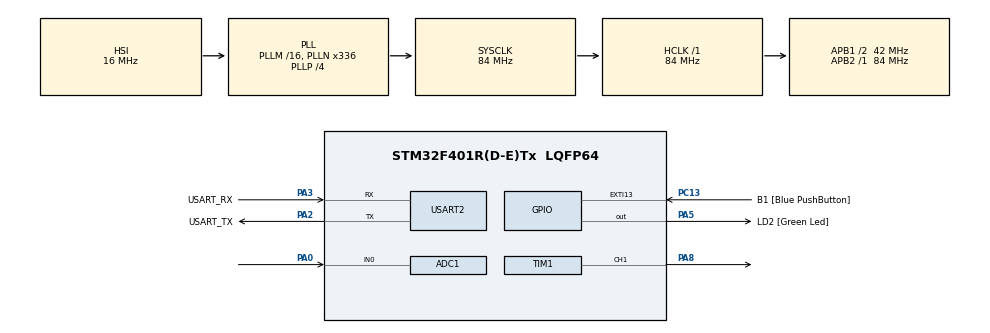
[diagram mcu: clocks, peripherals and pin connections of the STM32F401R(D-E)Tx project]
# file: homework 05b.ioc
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ADC1.Channel-0\#ChannelRegularConversion=ADC_CHANNEL_0
ADC1.ContinuousConvMode=DISABLE
ADC1.DMAContinuousRequests=ENABLE
ADC1.ExternalTrigConv=ADC_EXTERNALTRIGCONV_T3_TRGO
ADC1.NbrOfConversionFlag=1
ADC1.Rank-0\#ChannelRegularConversion=1
ADC1.SamplingTime-0\#ChannelRegularConversion=ADC_SAMPLETIME_480CYCLES
ADC1.master=1
Dma.ADC1.0.Direction=DMA_PERIPH_TO_MEMORY
Dma.ADC1.0.FIFOMode=DMA_FIFOMODE_DISABLE
Dma.ADC1.0.Instance=DMA2_Stream0
Dma.ADC1.0.MemDataAlignment=DMA_MDATAALIGN_HALFWORD
Dma.ADC1.0.MemInc=DMA_MINC_ENABLE
Dma.ADC1.0.Mode=DMA_CIRCULAR
Dma.ADC1.0.PeriphDataAlignment=DMA_PDATAALIGN_HALFWORD
Dma.ADC1.0.PeriphInc=DMA_PINC_DISABLE
Dma.ADC1.0.Priority=DMA_PRIORITY_LOW
Dma.Request0=ADC1
Mcu.Family=STM32F4
Mcu.Name=STM32F401R(D-E)Tx
Mcu.Package=LQFP64
NVIC.ADC_IRQn=true\:0\:0\:false\:false\:true\:true\:true\:true
NVIC.DMA2_Stream0_IRQn=true\:0\:0\:false\:false\:true\:false\:true\:true
NVIC.PriorityGroup=NVIC_PRIORITYGROUP_0
NVIC.TIM1_UP_TIM10_IRQn=true\:0\:0\:false\:false\:true\:true\:true\:true
PA0-WKUP.Signal=ADCx_IN0
PA13.GPIO_Label=TMS
PA13.Mode=Serial_Wire
PA13.Signal=SYS_JTMS-SWDIO
PA14.GPIO_Label=TCK
PA14.Mode=Serial_Wire
PA14.Signal=SYS_JTCK-SWCLK
PA2.GPIO_Label=USART_TX
PA2.GPIO_Mode=GPIO_MODE_AF_PP
PA2.GPIO_PuPd=GPIO_NOPULL
PA2.GPIO_Speed=GPIO_SPEED_FREQ_LOW
PA2.Mode=Asynchronous
PA2.Signal=USART2_TX
PA3.GPIO_Label=USART_RX
PA3.GPIO_Mode=GPIO_MODE_AF_PP
PA3.GPIO_PuPd=GPIO_NOPULL
PA3.GPIO_Speed=GPIO_SPEED_FREQ_LOW
PA3.Mode=Asynchronous
PA3.Signal=USART2_RX
PA5.GPIO_Label=LD2 [Green Led]
PA5.GPIO_Mode=GPIO_MODE_OUTPUT_PP
PA5.GPIO_PuPd=GPIO_NOPULL
PA5.GPIO_Speed=GPIO_SPEED_FREQ_LOW
PA5.Signal=GPIO_Output
PA8.Signal=S_TIM1_CH1
PB3.GPIO_Label=SWO
PB3.Signal=SYS_JTDO-SWO
PC13-ANTI_TAMP.GPIO_Label=B1 [Blue PushButton]
PC13-ANTI_TAMP.GPIO_ModeDefaultEXTI=GPIO_MODE_IT_FALLING
PC13-ANTI_TAMP.GPIO_PuPd=GPIO_NOPULL
PC13-ANTI_TAMP.Signal=GPXTI13
PC14-OSC32_IN.Mode=LSE-External-Oscillator
PC14-OSC32_IN.Signal=RCC_OSC32_IN
PC15-OSC32_OUT.Mode=LSE-External-Oscillator
PC15-OSC32_OUT.Signal=RCC_OSC32_OUT
PH0\ -\ OSC_IN.Mode=HSE-External-Clock-Source
PH0\ -\ OSC_IN.Signal=RCC_OSC_IN
PH1\ -\ OSC_OUT.Mode=HSE-External-Clock-Source
PH1\ -\ OSC_OUT.Signal=RCC_OSC_OUT
ProjectManager.HeapSize=0x200
ProjectManager.StackSize=0x400
ProjectManager.TargetToolchain=STM32CubeIDE
RCC.48MHZClocksFreq_Value=48000000
RCC.AHBFreq_Value=84000000
RCC.APB1CLKDivider=RCC_HCLK_DIV2
RCC.APB1Freq_Value=42000000
RCC.APB1TimFreq_Value=84000000
RCC.APB2Freq_Value=84000000
RCC.APB2TimFreq_Value=84000000
RCC.CortexFreq_Value=84000000
RCC.HCLKFreq_Value=84000000
RCC.HSE_VALUE=8000000
RCC.HSI_VALUE=16000000
RCC.PLLN=336
RCC.PLLP=RCC_PLLP_DIV4
RCC.PLLQ=7
RCC.SYSCLKFreq_VALUE=84000000
RCC.SYSCLKSource=RCC_SYSCLKSOURCE_PLLCLK
RCC.VCOOutputFreq_Value=336000000
SH.ADCx_IN0.0=ADC1_IN0,IN0
SH.S_TIM1_CH1.0=TIM1_CH1,PWM Generation1 CH1
TIM1.Channel-PWM\ Generation1\ CH1=TIM_CHANNEL_1
TIM1.Period=10000-1
TIM1.Prescaler=8400-1
TIM3.Period=10-1
TIM3.Prescaler=8400-1
TIM3.TIM_MasterOutputTrigger=TIM_TRGO_UPDATE
USART2.VirtualMode=VM_ASYNC
VP_TIM1_VS_ClockSourceINT.Mode=Internal
VP_TIM3_VS_ClockSourceINT.Mode=Internal
board=NUCLEO-F401RE

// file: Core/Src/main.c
/* USER CODE BEGIN Header */
/**
  ******************************************************************************
  * @file           : main.c
  * @brief          : Main program body
  ******************************************************************************
  * @attention
  *
  * Copyright (c) 2023 STMicroelectronics.
  * All rights reserved.
  *
  * This software is licensed under terms that can be found in the LICENSE file
  * in the root directory of this software component.
  * If no LICENSE file comes with this software, it is provided AS-IS.
  *
  ******************************************************************************
  */
/* USER CODE END Header */
#include "main.h"

/* USER CODE BEGIN Includes */
#include <math.h>
/* USER CODE END Includes */

ADC_HandleTypeDef hadc1;
DMA_HandleTypeDef hdma_adc1;

TIM_HandleTypeDef htim1;
TIM_HandleTypeDef htim3;

UART_HandleTypeDef huart2;

/* USER CODE BEGIN PV */
float mean=0;
uint16_t value;
float i=0;
float lux;
/* USER CODE END PV */

void SystemClock_Config(void);
static void MX_GPIO_Init(void);
static void MX_DMA_Init(void);
static void MX_USART2_UART_Init(void);
static void MX_ADC1_Init(void);
static void MX_TIM3_Init(void);
static void MX_TIM1_Init(void);
/* USER CODE BEGIN PFP */
void HAL_TIM_PeriodElapsedCallback(TIM_HandleTypeDef *htim){
	float temp = mean*3.3/4096;
	float ldr = (temp*100)/(3.3-temp);
	lux = 10*pow(100/ldr,1.25);
	char msg[100]="";
	sprintf(msg, "Lux: %f \r\n",lux);
	HAL_UART_Transmit(&huart2, msg, sizeof(msg), 1000);
	i=0;
	mean=0;
}
void HAL_ADC_ConvCpltCallback(ADC_HandleTypeDef* hadc){
	if(hadc == &hadc1){
		i++;
		mean=((mean*(i-1))+value)/i;
	}
}
/* USER CODE END PFP */

int main(void)
{

  /* MCU Configuration--------------------------------------------------------*/

  /* Reset of all peripherals, Initializes the Flash interface and the Systick. */
  HAL_Init();

  /* Configure the system clock */
  SystemClock_Config();

  /* Initialize all configured peripherals */
  MX_GPIO_Init();
  MX_DMA_Init();
  MX_USART2_UART_Init();
  MX_ADC1_Init();
  MX_TIM3_Init();
  MX_TIM1_Init();
  /* USER CODE BEGIN 2 */
  HAL_ADC_Start_DMA(&hadc1, &value, 1);
  HAL_TIM_Base_Start(&htim3);
  HAL_TIM_Base_Start_IT(&htim1);
  //HAL_TIM_Base_Start_IT(&htim1);
  /* USER CODE END 2 */

  /* Infinite loop */
  while (1)
  {

  }
}

void SystemClock_Config(void)
{
  RCC_OscInitTypeDef RCC_OscInitStruct = {0};
  RCC_ClkInitTypeDef RCC_ClkInitStruct = {0};

  /** Configure the main internal regulator output voltage
  */
  __HAL_RCC_PWR_CLK_ENABLE();
  __HAL_PWR_VOLTAGESCALING_CONFIG(PWR_REGULATOR_VOLTAGE_SCALE2);

  /** Initializes the RCC Oscillators according to the specified parameters
  * in the RCC_OscInitTypeDef structure.
  */
  RCC_OscInitStruct.OscillatorType = RCC_OSCILLATORTYPE_HSI;
  RCC_OscInitStruct.HSIState = RCC_HSI_ON;
  RCC_OscInitStruct.HSICalibrationValue = RCC_HSICALIBRATION_DEFAULT;
  RCC_OscInitStruct.PLL.PLLState = RCC_PLL_ON;
  RCC_OscInitStruct.PLL.PLLSource = RCC_PLLSOURCE_HSI;
  RCC_OscInitStruct.PLL.PLLM = 16;
  RCC_OscInitStruct.PLL.PLLN = 336;
  RCC_OscInitStruct.PLL.PLLP = RCC_PLLP_DIV4;
  RCC_OscInitStruct.PLL.PLLQ = 7;
  if (HAL_RCC_OscConfig(&RCC_OscInitStruct) != HAL_OK)
  {
    Error_Handler();
  }

  /** Initializes the CPU, AHB and APB buses clocks
  */
  RCC_ClkInitStruct.ClockType = RCC_CLOCKTYPE_HCLK|RCC_CLOCKTYPE_SYSCLK
                              |RCC_CLOCKTYPE_PCLK1|RCC_CLOCKTYPE_PCLK2;
  RCC_ClkInitStruct.SYSCLKSource = RCC_SYSCLKSOURCE_PLLCLK;
  RCC_ClkInitStruct.AHBCLKDivider = RCC_SYSCLK_DIV1;
  RCC_ClkInitStruct.APB1CLKDivider = RCC_HCLK_DIV2;
  RCC_ClkInitStruct.APB2CLKDivider = RCC_HCLK_DIV1;

  if (HAL_RCC_ClockConfig(&RCC_ClkInitStruct, FLASH_LATENCY_2) != HAL_OK)
  {
    Error_Handler();
  }
}

static void MX_ADC1_Init(void)
{

  ADC_ChannelConfTypeDef sConfig = {0};

  /** Configure the global features of the ADC (Clock, Resolution, Data Alignment and number of conversion)
  */
  hadc1.Instance = ADC1;
  hadc1.Init.ClockPrescaler = ADC_CLOCK_SYNC_PCLK_DIV4;
  hadc1.Init.Resolution = ADC_RESOLUTION_12B;
  hadc1.Init.ScanConvMode = DISABLE;
  hadc1.Init.ContinuousConvMode = DISABLE;
  hadc1.Init.DiscontinuousConvMode = DISABLE;
  hadc1.Init.ExternalTrigConvEdge = ADC_EXTERNALTRIGCONVEDGE_RISING;
  hadc1.Init.ExternalTrigConv = ADC_EXTERNALTRIGCONV_T3_TRGO;
  hadc1.Init.DataAlign = ADC_DATAALIGN_RIGHT;
  hadc1.Init.NbrOfConversion = 1;
  hadc1.Init.DMAContinuousRequests = ENABLE;
  hadc1.Init.EOCSelection = ADC_EOC_SINGLE_CONV;
  if (HAL_ADC_Init(&hadc1) != HAL_OK)
  {
    Error_Handler();
  }

  /** Configure for the selected ADC regular channel its corresponding rank in the sequencer and its sample time.
  */
  sConfig.Channel = ADC_CHANNEL_0;
  sConfig.Rank = 1;
  sConfig.SamplingTime = ADC_SAMPLETIME_480CYCLES;
  if (HAL_ADC_ConfigChannel(&hadc1, &sConfig) != HAL_OK)
  {
    Error_Handler();
  }

}

static void MX_TIM1_Init(void)
{

  TIM_ClockConfigTypeDef sClockSourceConfig = {0};
  TIM_MasterConfigTypeDef sMasterConfig = {0};
  TIM_OC_InitTypeDef sConfigOC = {0};
  TIM_BreakDeadTimeConfigTypeDef sBreakDeadTimeConfig = {0};

  htim1.Instance = TIM1;
  htim1.Init.Prescaler = 8400-1;
  htim1.Init.CounterMode = TIM_COUNTERMODE_UP;
  htim1.Init.Period = 10000-1;
  htim1.Init.ClockDivision = TIM_CLOCKDIVISION_DIV1;
  htim1.Init.RepetitionCounter = 0;
  htim1.Init.AutoReloadPreload = TIM_AUTORELOAD_PRELOAD_DISABLE;
  if (HAL_TIM_Base_Init(&htim1) != HAL_OK)
  {
    Error_Handler();
  }
  sClockSourceConfig.ClockSource = TIM_CLOCKSOURCE_INTERNAL;
  if (HAL_TIM_ConfigClockSource(&htim1, &sClockSourceConfig) != HAL_OK)
  {
    Error_Handler();
  }
  if (HAL_TIM_PWM_Init(&htim1) != HAL_OK)
  {
    Error_Handler();
  }
  sMasterConfig.MasterOutputTrigger = TIM_TRGO_RESET;
  sMasterConfig.MasterSlaveMode = TIM_MASTERSLAVEMODE_DISABLE;
  if (HAL_TIMEx_MasterConfigSynchronization(&htim1, &sMasterConfig) != HAL_OK)
  {
    Error_Handler();
  }
  sConfigOC.OCMode = TIM_OCMODE_PWM1;
  sConfigOC.Pulse = 0;
  sConfigOC.OCPolarity = TIM_OCPOLARITY_HIGH;
  sConfigOC.OCNPolarity = TIM_OCNPOLARITY_HIGH;
  sConfigOC.OCFastMode = TIM_OCFAST_DISABLE;
  sConfigOC.OCIdleState = TIM_OCIDLESTATE_RESET;
  sConfigOC.OCNIdleState = TIM_OCNIDLESTATE_RESET;
  if (HAL_TIM_PWM_ConfigChannel(&htim1, &sConfigOC, TIM_CHANNEL_1) != HAL_OK)
  {
    Error_Handler();
  }
  sBreakDeadTimeConfig.OffStateRunMode = TIM_OSSR_DISABLE;
  sBreakDeadTimeConfig.OffStateIDLEMode = TIM_OSSI_DISABLE;
  sBreakDeadTimeConfig.LockLevel = TIM_LOCKLEVEL_OFF;
  sBreakDeadTimeConfig.DeadTime = 0;
  sBreakDeadTimeConfig.BreakState = TIM_BREAK_DISABLE;
  sBreakDeadTimeConfig.BreakPolarity = TIM_BREAKPOLARITY_HIGH;
  sBreakDeadTimeConfig.AutomaticOutput = TIM_AUTOMATICOUTPUT_DISABLE;
  if (HAL_TIMEx_ConfigBreakDeadTime(&htim1, &sBreakDeadTimeConfig) != HAL_OK)
  {
    Error_Handler();
  }
  HAL_TIM_MspPostInit(&htim1);

}

static void MX_TIM3_Init(void)
{

  TIM_ClockConfigTypeDef sClockSourceConfig = {0};
  TIM_MasterConfigTypeDef sMasterConfig = {0};

  htim3.Instance = TIM3;
  htim3.Init.Prescaler = 8400-1;
  htim3.Init.CounterMode = TIM_COUNTERMODE_UP;
  htim3.Init.Period = 10-1;
  htim3.Init.ClockDivision = TIM_CLOCKDIVISION_DIV1;
  htim3.Init.AutoReloadPreload = TIM_AUTORELOAD_PRELOAD_DISABLE;
  if (HAL_TIM_Base_Init(&htim3) != HAL_OK)
  {
    Error_Handler();
  }
  sClockSourceConfig.ClockSource = TIM_CLOCKSOURCE_INTERNAL;
  if (HAL_TIM_ConfigClockSource(&htim3, &sClockSourceConfig) != HAL_OK)
  {
    Error_Handler();
  }
  sMasterConfig.MasterOutputTrigger = TIM_TRGO_UPDATE;
  sMasterConfig.MasterSlaveMode = TIM_MASTERSLAVEMODE_DISABLE;
  if (HAL_TIMEx_MasterConfigSynchronization(&htim3, &sMasterConfig) != HAL_OK)
  {
    Error_Handler();
  }

}

static void MX_USART2_UART_Init(void)
{

  huart2.Instance = USART2;
  huart2.Init.BaudRate = 115200;
  huart2.Init.WordLength = UART_WORDLENGTH_8B;
  huart2.Init.StopBits = UART_STOPBITS_1;
  huart2.Init.Parity = UART_PARITY_NONE;
  huart2.Init.Mode = UART_MODE_TX_RX;
  huart2.Init.HwFlowCtl = UART_HWCONTROL_NONE;
  huart2.Init.OverSampling = UART_OVERSAMPLING_16;
  if (HAL_UART_Init(&huart2) != HAL_OK)
  {
    Error_Handler();
  }

}

static void MX_DMA_Init(void)
{

  /* DMA controller clock enable */
  __HAL_RCC_DMA2_CLK_ENABLE();

  /* DMA interrupt init */
  /* DMA2_Stream0_IRQn interrupt configuration */
  HAL_NVIC_SetPriority(DMA2_Stream0_IRQn, 0, 0);
  HAL_NVIC_EnableIRQ(DMA2_Stream0_IRQn);

}

static void MX_GPIO_Init(void)
{
  GPIO_InitTypeDef GPIO_InitStruct = {0};

  /* GPIO Ports Clock Enable */
  __HAL_RCC_GPIOC_CLK_ENABLE();
  __HAL_RCC_GPIOH_CLK_ENABLE();
  __HAL_RCC_GPIOA_CLK_ENABLE();
  __HAL_RCC_GPIOB_CLK_ENABLE();

  /*Configure GPIO pin Output Level */
  HAL_GPIO_WritePin(LD2_GPIO_Port, LD2_Pin, GPIO_PIN_RESET);

  /*Configure GPIO pin : B1_Pin */
  GPIO_InitStruct.Pin = B1_Pin;
  GPIO_InitStruct.Mode = GPIO_MODE_IT_FALLING;
  GPIO_InitStruct.Pull = GPIO_NOPULL;
  HAL_GPIO_Init(B1_GPIO_Port, &GPIO_InitStruct);

  /*Configure GPIO pin : LD2_Pin */
  GPIO_InitStruct.Pin = LD2_Pin;
  GPIO_InitStruct.Mode = GPIO_MODE_OUTPUT_PP;
  GPIO_InitStruct.Pull = GPIO_NOPULL;
  GPIO_InitStruct.Speed = GPIO_SPEED_FREQ_LOW;
  HAL_GPIO_Init(LD2_GPIO_Port, &GPIO_InitStruct);

}

void Error_Handler(void)
{
  __disable_irq();
  while (1)
  {
  }
}
